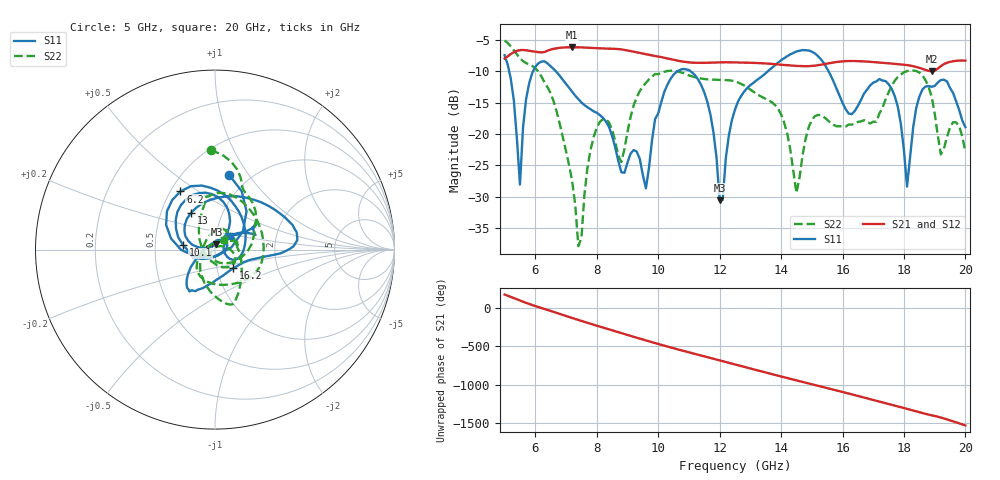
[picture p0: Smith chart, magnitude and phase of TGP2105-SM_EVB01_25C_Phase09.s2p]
! Date: Wednesday, June 05, 2013  1:49 PM
! Filename: C:\Data\Mike_Arnold\TGP2105-SM\Over_Temp\TGP2105-SM_EVB01_25C_Phase9.s2p
! Comments:
!^VDC(V):5.000
!^VDC(mA):0.060
!%Freq(GHz),S11(dB),S11(ang),S21(dB),S21(ang),S12(dB),S12(ang),S22(dB),S22(ang)
# GHz  S  DB  R  50
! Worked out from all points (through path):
!   151 points, 5 GHz to 20 GHz, reference 50 ohm
!   highest |S21| = -6.20 dB at 7.2 GHz (marker M1); lowest = -10.0 dB at 18.9 GHz (marker M2)
!   lowest |S11| = -30.6 dB at 12 GHz (marker M3), VSWR 1.06, Z = 50.7 + j2.9 ohm
!   |S11| at or under -10 dB: 6.662 GHz to 10.64 GHz (3.975 GHz wide, 46 % of centre); 11.05 GHz to 13.57 GHz (2.528 GHz wide, 20.5 % of centre); 15.54 GHz to end of sweep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
!   |S22| runs from -37.9 to -5.1 dB; largest |S21 - S12| = 0.0022
!   S11 on the Smith chart (normalised r, x): 5 GHz: 0.81, +0.82; 6.2 GHz: 0.56, +0.42; 10.1 GHz: 0.70, +0.04; 13 GHz: 0.71, +0.31; 16.2 GHz: 1.20, -0.25; 20 GHz: 1.16, +0.18
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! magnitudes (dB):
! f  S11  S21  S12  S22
! 5 GHz  -7.5  -8.0  -8.0  -5.1
! 5.5 GHz  -28.1  -6.7  -6.7  -7.9
! 5.7 GHz  -14.4  -6.7  -6.7  -8.7
! 6.2 GHz  -8.5  -7.0  -7.0  -10.9
! 7.2 GHz  -13.3  -6.2  -6.2  -27.6
! 7.5 GHz  -15.0  -6.2  -6.3  -36.6
! 8 GHz  -16.6  -6.3  -6.4  -19.0
! 8.8 GHz  -26.1  -6.5  -6.6  -24.5
! 9.6 GHz  -28.7  -7.3  -7.3  -11.9
! 10 GHz  -16.7  -7.7  -7.7  -10.5
! 10.1 GHz  -14.9  -7.8  -7.8  -10.3
! 11.3 GHz  -11.3  -8.7  -8.7  -11.1
! 12 GHz  -30.6  -8.6  -8.6  -11.4
! 12.5 GHz  -16.1  -8.6  -8.6  -11.7
! 13 GHz  -12.2  -8.7  -8.7  -12.9
! 14.5 GHz  -6.9  -9.2  -9.2  -29.4
! 15 GHz  -6.9  -9.2  -9.2  -17.8
! 16.2 GHz  -16.8  -8.4  -8.4  -18.5
! 17.5 GHz  -12.1  -8.8  -8.8  -13.4
! 18.1 GHz  -28.4  -9.0  -9.1  -10.0
! 18.9 GHz  -12.5  -10.0  -10.1  -14.1
! 20 GHz  -18.9  -8.3  -8.4  -22.9
